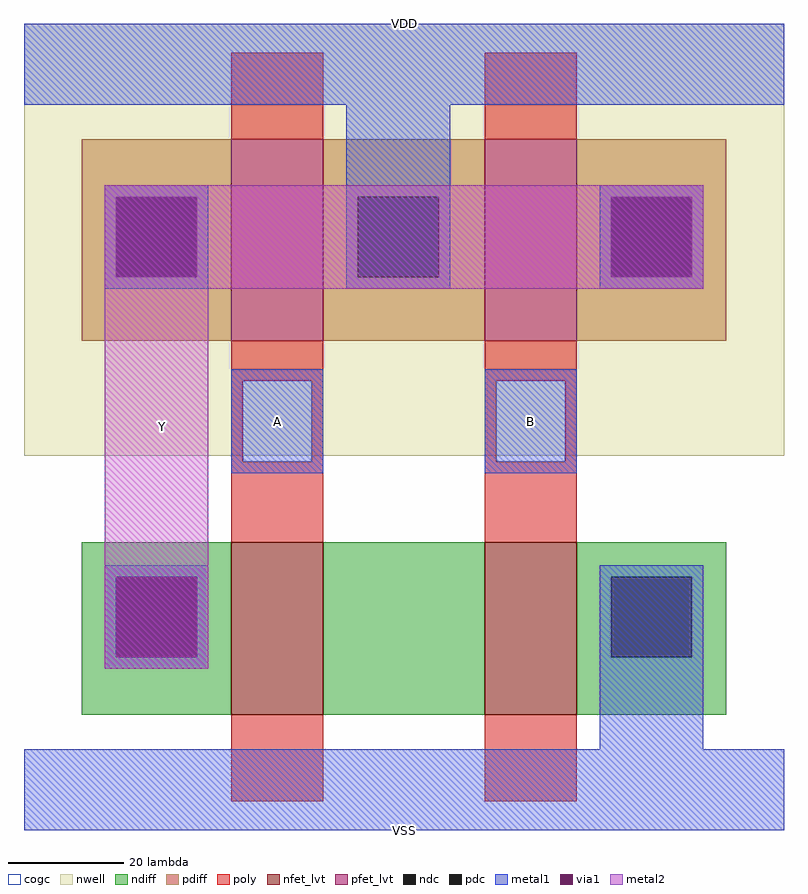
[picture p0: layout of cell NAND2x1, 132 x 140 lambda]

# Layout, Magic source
magic
tech asap5
<< nwell >>
rect 0 65 132 140
<< poly >>
rect 36 120 52 135
rect 36 78 52 85
rect 36 64 38 78
rect 50 64 52 78
rect 36 50 52 64
rect 36 5 52 20
rect 80 120 96 135
rect 80 78 96 85
rect 80 64 82 78
rect 94 64 96 78
rect 80 50 96 64
rect 80 5 96 20
<< ndiff >>
rect 10 44 36 50
rect 10 30 16 44
rect 30 30 36 44
rect 10 20 36 30
rect 52 20 80 50
rect 96 44 122 50
rect 96 30 102 44
rect 116 30 122 44
rect 96 20 122 30
<< pdiff >>
rect 10 110 36 120
rect 10 96 16 110
rect 30 96 36 110
rect 10 85 36 96
rect 52 110 80 120
rect 52 96 58 110
rect 72 96 80 110
rect 52 85 80 96
rect 96 110 122 120
rect 96 96 102 110
rect 116 96 122 110
rect 96 85 122 96
<< nfet_lvt >>
rect 36 20 52 50
rect 80 20 96 50
<< pfet_lvt >>
rect 36 85 52 120
rect 80 85 96 120
<< metal1 >>
rect 0 126 132 140
rect 56 94 74 126
rect 0 0 132 14
rect 100 14 118 46
rect 14 28 32 46
rect 14 94 32 112
rect 100 94 118 112
rect 36 62 52 80
rect 80 62 96 80
<< metal2 >>
rect 14 28 32 112
rect 32 94 118 112
<< via1 >>
rect 16 30 30 44
rect 16 96 30 110
rect 102 96 116 110
<< cogc >>
rect 38 64 50 78
rect 82 64 94 78
<< ndc >>
rect 16 30 30 44
rect 102 30 116 44
<< pdc >>
rect 16 96 30 110
rect 58 96 72 110
rect 102 96 116 110
<< labels >>
rlabel metal1 44 71 44 71 1 A
rlabel metal1 88 71 88 71 1 B
rlabel metal2 24 70 24 70 1 Y
rlabel metal1 66 140 66 140 5 VDD
rlabel metal1 66 0 66 0 1 VSS
<< end >>
